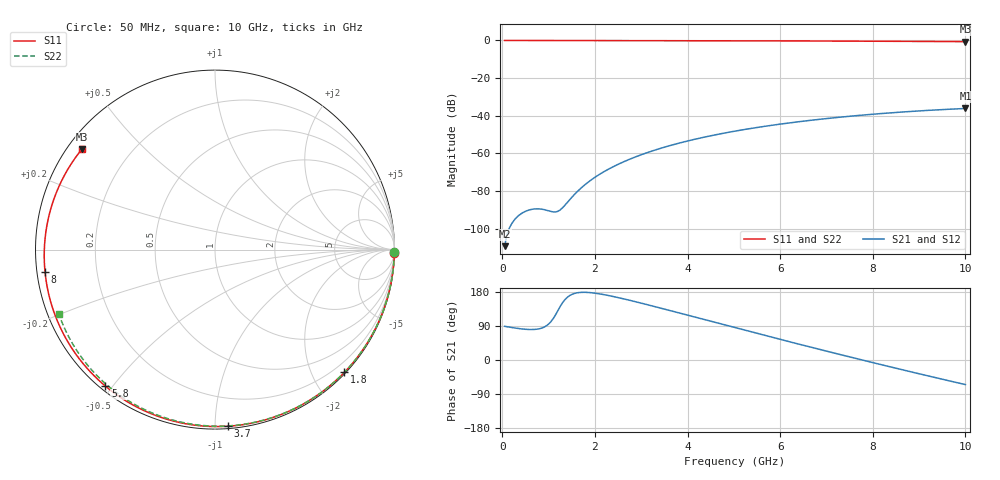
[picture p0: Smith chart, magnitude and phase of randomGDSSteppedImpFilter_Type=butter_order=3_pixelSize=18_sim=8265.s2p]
! freq	dB(S11)	phase(S11)	dB(S12)	phase(S12)
!  dB(S21)	phase(S21)	dB(S22)	phase(S22)
!S-par simulation data
#  GHz  S  DB  R 50
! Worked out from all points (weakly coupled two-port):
!   200 points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, 50 MHz to 10 GHz, reference 50 ohm
!   highest |S21| = -36.14 dB at 10 GHz (marker M1); lowest = -109.3 dB at 50 MHz (marker M2)
!   lowest |S11| = -0.6 dB at 10 GHz (marker M3), VSWR 27.26, Z = 2.04 + j16.7 ohm
!   |S11| at or under -10 dB: nowhere
!   |S22| runs from -0.5 to 0.0 dB; largest |S21 - S12| = 0
!   S11 on the Smith chart (normalised r, x): 50 MHz: 1, -96; 1.8 GHz: 0.02, -2.51; 3.7 GHz: 0.01, -1.07; 5.8 GHz: 0.02, -0.48; 8 GHz: 0.02, -0.06; 10 GHz: 0.04, +0.33
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0.05  -0.00 -1.2  -109.29 88.9  -109.29 88.9  -0.00 -0.9
0.45  -0.02 -11.0  -91.39 81.6  -91.39 81.6  -0.01 -8.2
0.8  -0.03 -19.6  -89.49 82.5  -89.49 82.5  -0.02 -14.5
1.6  -0.05 -38.7  -80.75 176.9  -80.75 176.9  -0.04 -28.8
1.65  -0.05 -39.9  -79.56 177.9  -79.56 177.9  -0.04 -29.7
1.75  -0.05 -42.3  -77.35 178.7  -77.35 178.7  -0.04 -31.5
1.8  -0.06 -43.4  -76.33 178.6  -76.33 178.6  -0.04 -32.3
2.1  -0.06 -50.4  -71.12 174.5  -71.12 174.5  -0.05 -37.6
2.45  -0.07 -58.4  -66.40 166.1  -66.40 166.1  -0.06 -43.6
2.9  -0.09 -68.5  -61.63 153.1  -61.63 153.1  -0.07 -51.3
3.4  -0.10 -79.5  -57.44 137.5  -57.44 137.5  -0.08 -59.7
3.7  -0.12 -85.9  -55.31 128.0  -55.31 128.0  -0.09 -64.6
4.35  -0.14 -99.5  -51.43 107.1  -51.43 107.1  -0.11 -75.1
5.05  -0.17 -113.8  -48.06 84.6  -48.06 84.6  -0.13 -86.0
5.8  -0.22 -128.8  -45.13 60.7  -45.13 60.7  -0.17 -97.4
6.7  -0.28 -146.5  -42.30 32.6  -42.30 32.6  -0.22 -110.6
7.35  -0.34 -159.4  -40.62 12.7  -40.62 12.7  -0.26 -120.0
8  -0.40 -172.6  -39.20 -6.9  -39.20 -6.9  -0.31 -129.2
8.35  -0.44 -179.9  -38.52 -17.3  -38.52 -17.3  -0.34 -134.2
8.8  -0.49 170.5  -37.74 -30.5  -37.74 -30.5  -0.39 -140.6
9.2  -0.54 161.7  -37.14 -42.1  -37.14 -42.1  -0.43 -146.2
10  -0.64 143.1  -36.14 -64.8  -36.14 -64.8  -0.53 -157.7
